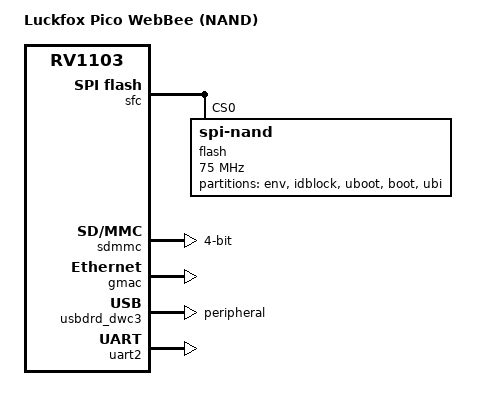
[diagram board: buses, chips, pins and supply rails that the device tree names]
// SPDX-License-Identifier: (GPL-2.0+ OR MIT)
/*
 * Copyright (c) 2022 Rockchip Electronics Co., Ltd.
 */

/dts-v1/;

#include "rv1103.dtsi"
#include "rv1106-evb.dtsi"
#include "rv1103-luckfox-pico-ipc.dtsi"

/ {
	model = "Luckfox Pico WebBee (NAND)";
	compatible = "luckfox,rv1103-luckfox-pico-webbee-nand", "luckfox,rv1103-luckfox-pico-webbee", "rockchip,rv1103";

	chosen {
		bootargs = "earlycon=uart8250,mmio32,0xff4c0000 console=ttyS2,1500000n8 loglevel=8 ignore_loglevel mtdparts=spi2.0:256K(env),512K(idblock),512K(uboot),6M@1280K(boot),-(ubi) ubi.mtd=ubi ubi.block=0,rootfs root=/dev/ubiblock0_0 rootfstype=squashfs ro rootwait rk_dma_heap_cma=24M";
	};
};

/* fiq-debugger is a vendor-only feature with no upstream driver; disable to
 * suppress "Dropping the fwnode link to /interrupt-controller" at boot. */
&fiq_debugger {
	status = "disabled";
};

/**********SFC**********/
/* Luckfox Pico WebBee has 128MB SPI NAND.
 *
 * Partitions via fixed-partitions rather than cmdline mtdparts: U-Boot's
 * MTD layer names the flash "spi-nand0" while Linux names it "spi2.0",
 * so a single mtdparts= string cannot satisfy both. OF partitions create
 * MTDs by label, letting ubi.mtd=ubi match regardless of MTD name. */
&sfc {
	status = "okay";
	flash@0 {
		compatible = "spi-nand";
		reg = <0>;
		spi-max-frequency = <75000000>;
		spi-rx-bus-width = <4>;
		spi-tx-bus-width = <1>;

		partitions {
			compatible = "fixed-partitions";
			#address-cells = <1>;
			#size-cells = <1>;

			partition@0 {
				label = "env";
				reg = <0x000000 0x040000>;
			};
			partition@40000 {
				label = "idblock";
				reg = <0x040000 0x080000>;
			};
			partition@c0000 {
				label = "uboot";
				reg = <0x0c0000 0x080000>;
			};
			partition@140000 {
				label = "boot";
				reg = <0x140000 0x600000>;
			};
			partition@740000 {
				label = "ubi";
				reg = <0x740000 0x78c0000>;
			};
		};
	};
};

/**********SDMMC**********/
&sdmmc {
	max-frequency = <50000000>;
	no-sdio;
	no-mmc;
	bus-width = <4>;
	cap-mmc-highspeed;
	cap-sd-highspeed;
	disable-wp;
	pinctrl-names = "default";
	pinctrl-0 = <&sdmmc0_clk &sdmmc0_cmd &sdmmc0_det &sdmmc0_bus4>;
	status = "okay";
};

/**********ETH**********/
&gmac {
	status = "okay";
};

/**********USB**********/
&usbdrd_dwc3 {
	status = "okay";
	dr_mode = "peripheral";
};

/**********CSI**********/
&i2c4 {
	status = "disabled";
};

/********AUDIO**********/
&i2s0_8ch {
	status = "disabled";
};

&acodec {
	status = "disabled";
};

/**********UART**********/
/* UART2_M1 — debug console; must be enabled so the 8250 driver claims the
 * UART2 clock before clk_disable_unused() runs, keeping the console alive. */
&uart2 {
	status = "okay";
};
